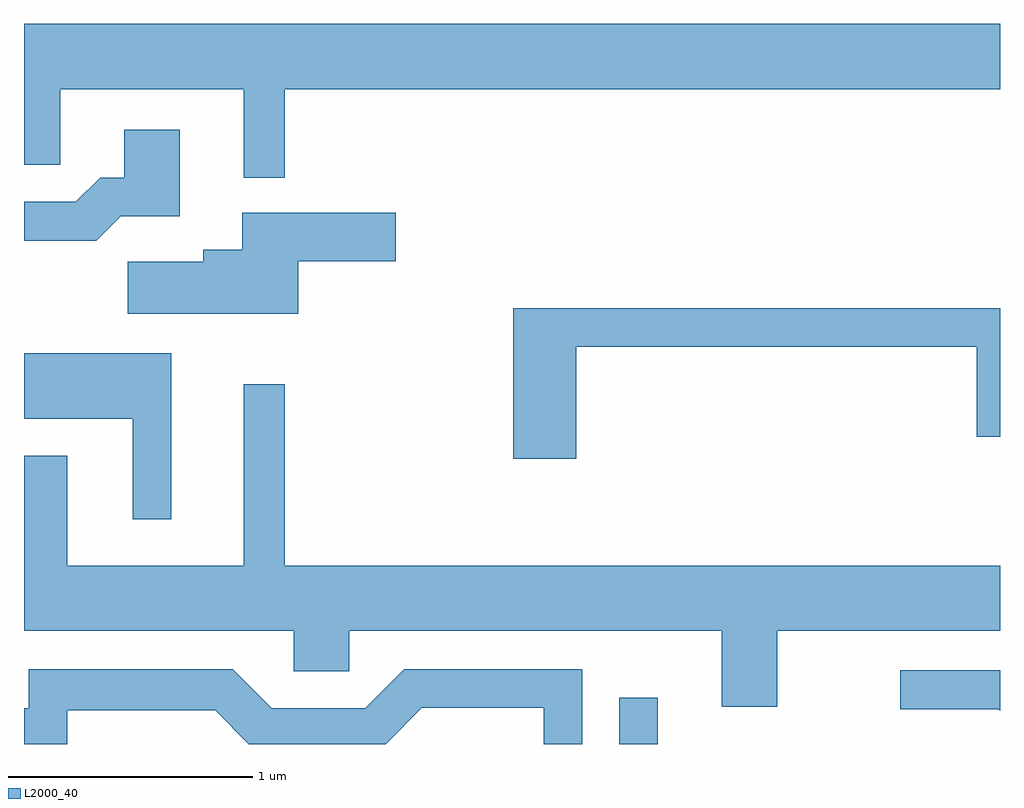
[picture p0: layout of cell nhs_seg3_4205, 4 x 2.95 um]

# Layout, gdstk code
import gdstk
lib = gdstk.Library(unit=1e-6, precision=1e-09)
def R(c, l, rs):  # rectangles x0, y0, x1, y1
    for r in rs: c.add(gdstk.rectangle(r[:2], r[2:], *l))
def P(c, l, *ps):  # polygons
    for p in ps: c.add(gdstk.Polygon(p, *l))
L2000_40 = (2000, 40)

nhs_seg3_4205 = lib.new_cell('nhs_seg3_4205')
R(nhs_seg3_4205, L2000_40, [(310.051,1229.892,310.209,1230.083)])
P(nhs_seg3_4205, L2000_40, [(308.679,1232.576),(311.611,1232.576),(311.611,1232.844),(307.611,1232.844),(307.611,1232.266),(307.759,1232.266),(307.759,1232.576),(308.511,1232.576),(308.511,1232.213),(308.679,1232.213)],
  [(308.007,1232.056),(308.249,1232.056),(308.249,1232.409),(308.021,1232.409),(308.021,1232.214),(307.924,1232.214),(307.824,1232.114),(307.611,1232.114),(307.611,1231.956),(307.907,1231.956)],
  [(308.734,1231.871),(309.134,1231.871),(309.134,1232.069),(308.506,1232.069),(308.506,1231.919),(308.346,1231.919),(308.346,1231.869),(308.036,1231.869),(308.036,1231.656),(308.734,1231.656)],
  [(309.874,1231.521),(311.516,1231.521),(311.516,1231.151),(311.611,1231.151),(311.611,1231.679),(309.616,1231.679),(309.616,1231.061),(309.874,1231.061)],
  [(308.214,1231.494),(307.611,1231.494),(307.611,1231.226),(308.056,1231.226),(308.056,1230.813),(308.214,1230.813)],
  [(310.699,1230.356),(311.611,1230.356),(311.611,1230.624),(308.679,1230.624),(308.679,1231.368),(308.511,1231.368),(308.511,1230.624),(307.789,1230.624),(307.789,1231.074),(307.611,1231.074),(307.611,1230.356),(308.716,1230.356),(308.716,1230.191),(308.944,1230.191),(308.944,1230.356),(310.471,1230.356),(310.471,1230.046),(310.699,1230.046)],
  [(307.789,1230.031),(308.394,1230.031),(308.533,1229.892),(309.093,1229.892),(309.242,1230.041),(309.741,1230.041),(309.741,1229.892),(309.899,1229.892),(309.899,1230.199),(309.169,1230.199),(309.009,1230.039),(308.627,1230.039),(308.467,1230.199),(307.631,1230.199),(307.631,1230.039),(307.611,1230.039),(307.611,1229.892),(307.789,1229.892)],
  [(311.611,1230.194),(311.203,1230.194),(311.203,1230.036),(311.604,1230.036),(311.611,1230.029)])

lib.write_gds('nhs_seg3_4205.gds')
